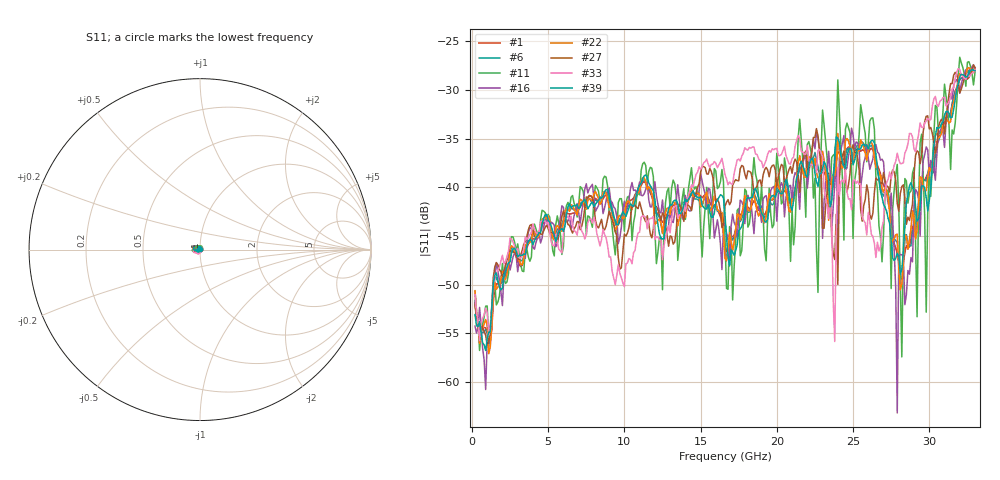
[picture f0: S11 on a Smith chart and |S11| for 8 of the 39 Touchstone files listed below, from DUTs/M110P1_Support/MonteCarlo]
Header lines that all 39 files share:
# GHZ S RI R 50
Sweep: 200 MHz to 33 GHz
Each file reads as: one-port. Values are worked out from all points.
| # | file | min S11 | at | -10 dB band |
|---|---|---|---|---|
| 1 | M110P1_1.s2p | -55.8 dB | 1.2 GHz | over 32.8 GHz wide |
| 2 | M110P1_4.s2p | -56.4 dB | 1 GHz | over 32.8 GHz wide |
| 3 | M110P1_5.s2p | -56.6 dB | 1.1 GHz | over 32.8 GHz wide |
| 4 | M110P1_7.s2p | -58.2 dB | 27.9 GHz | over 32.8 GHz wide |
| 5 | M110P1_8.s2p | -57.5 dB | 1 GHz | over 32.8 GHz wide |
| 6 | M110P1_11.s2p | -56.3 dB | 1.1 GHz | over 32.8 GHz wide |
| 7 | M110P1_14.s2p | -56.5 dB | 1.1 GHz | over 32.8 GHz wide |
| 8 | M110P1_15.s2p | -69.7 dB | 900 MHz | over 32.8 GHz wide |
| 9 | M110P1_17.s2p | -61.7 dB | 900 MHz | over 32.8 GHz wide |
| 10 | M110P1_18.s2p | -56.9 dB | 900 MHz | over 32.8 GHz wide |
| 11 | M110P1_19.s2p | -57.4 dB | 28.2 GHz | over 32.8 GHz wide |
| 12 | M110P1_29.s2p | -58.9 dB | 900 MHz | over 32.8 GHz wide |
| 13 | M110P1_30.s2p | -56.5 dB | 1.2 GHz | over 32.8 GHz wide |
| 14 | M110P1_33.s2p | -57.2 dB | 1.1 GHz | over 32.8 GHz wide |
| 15 | M110P1_36.s2p | -55.7 dB | 1 GHz | over 32.8 GHz wide |
| 16 | M110P1_40.s2p | -63.2 dB | 27.9 GHz | over 32.8 GHz wide |
| 17 | M110P1_41.s2p | -62.5 dB | 900 MHz | over 32.8 GHz wide |
| 18 | M110P1_43.s2p | -65.7 dB | 900 MHz | over 32.8 GHz wide |
| 19 | M110P1_44.s2p | -56.2 dB | 500 MHz | over 32.8 GHz wide |
| 20 | M110P1_47.s2p | -56.2 dB | 500 MHz | over 32.8 GHz wide |
| 21 | M110P1_49.s2p | -73.1 dB | 900 MHz | over 32.8 GHz wide |
| 22 | M110P1_51.s2p | -57.1 dB | 1.1 GHz | over 32.8 GHz wide |
| 23 | M110P1_53.s2p | -55.9 dB | 1.1 GHz | over 32.8 GHz wide |
| 24 | M110P1_55.s2p | -58.4 dB | 900 MHz | over 32.8 GHz wide |
| 25 | M110P1_57.s2p | -56.7 dB | 1.1 GHz | over 32.8 GHz wide |
| 26 | M110P1_59.s2p | -63.0 dB | 27.9 GHz | over 32.8 GHz wide |
| 27 | M110P1_60.s2p | -56.2 dB | 1 GHz | over 32.8 GHz wide |
| 28 | M110P1_61.s2p | -55.9 dB | 500 MHz | over 32.8 GHz wide |
| 29 | M110P1_62.s2p | -56.5 dB | 1.2 GHz | over 32.8 GHz wide |
| 30 | M110P1_63.s2p | -56.4 dB | 1.1 GHz | over 32.8 GHz wide |
| 31 | M110P1_64.s2p | -55.5 dB | 1.1 GHz | over 32.8 GHz wide |
| 32 | M110P1_65.s2p | -75.6 dB | 900 MHz | over 32.8 GHz wide |
| 33 | M110P1_66.s2p | -55.8 dB | 23.8 GHz | over 32.8 GHz wide |
| 34 | M110P1_67.s2p | -56.1 dB | 1.1 GHz | over 32.8 GHz wide |
| 35 | M110P1_72.s2p | -56.2 dB | 1.1 GHz | over 32.8 GHz wide |
| 36 | M110P1_76.s2p | -63.8 dB | 900 MHz | over 32.8 GHz wide |
| 37 | M110P1_79.s2p | -56.2 dB | 1.2 GHz | over 32.8 GHz wide |
| 38 | M110P1_80.s2p | -68.4 dB | 23.7 GHz | over 32.8 GHz wide |
| 39 | M110P1_83.s2p | -56.8 dB | 900 MHz | over 32.8 GHz wide |
